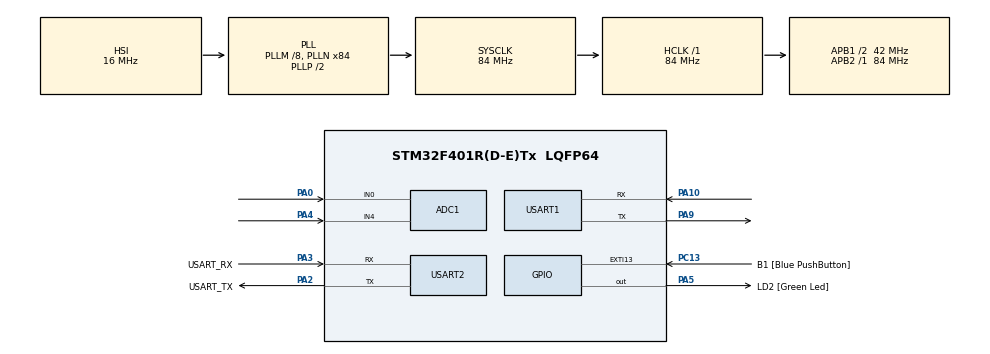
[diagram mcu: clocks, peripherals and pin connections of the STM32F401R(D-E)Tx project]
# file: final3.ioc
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ADC1.ContinuousConvMode=ENABLE
ADC1.NbrOfConversion=1
ADC1.NbrOfConversionFlag=1
ADC1.master=1
Mcu.Family=STM32F4
Mcu.Name=STM32F401R(D-E)Tx
Mcu.Package=LQFP64
NVIC.EXTI15_10_IRQn=true\:1\:0\:true\:false\:true\:true\:true
NVIC.PriorityGroup=NVIC_PRIORITYGROUP_1
PA0-WKUP.Signal=ADCx_IN0
PA10.Mode=Asynchronous
PA10.Signal=USART1_RX
PA13.GPIO_Label=TMS
PA13.Mode=Serial_Wire
PA13.Signal=SYS_JTMS-SWDIO
PA14.GPIO_Label=TCK
PA14.Mode=Serial_Wire
PA14.Signal=SYS_JTCK-SWCLK
PA2.GPIO_Label=USART_TX
PA2.GPIO_Mode=GPIO_MODE_AF_PP
PA2.GPIO_PuPd=GPIO_NOPULL
PA2.GPIO_Speed=GPIO_SPEED_FREQ_LOW
PA2.Mode=Asynchronous
PA2.Signal=USART2_TX
PA3.GPIO_Label=USART_RX
PA3.GPIO_Mode=GPIO_MODE_AF_PP
PA3.GPIO_PuPd=GPIO_NOPULL
PA3.GPIO_Speed=GPIO_SPEED_FREQ_LOW
PA3.Mode=Asynchronous
PA3.Signal=USART2_RX
PA4.Signal=ADCx_IN4
PA5.GPIO_Label=LD2 [Green Led]
PA5.GPIO_Mode=GPIO_MODE_OUTPUT_PP
PA5.GPIO_PuPd=GPIO_NOPULL
PA5.GPIO_Speed=GPIO_SPEED_FREQ_LOW
PA5.Signal=GPIO_Output
PA9.Mode=Asynchronous
PA9.Signal=USART1_TX
PB3.GPIO_Label=SWO
PB3.Signal=SYS_JTDO-SWO
PC13-ANTI_TAMP.GPIO_Label=B1 [Blue PushButton]
PC13-ANTI_TAMP.GPIO_ModeDefaultEXTI=GPIO_MODE_IT_FALLING
PC13-ANTI_TAMP.GPIO_PuPd=GPIO_NOPULL
PC13-ANTI_TAMP.Signal=GPXTI13
PC14-OSC32_IN.Mode=LSE-External-Oscillator
PC14-OSC32_IN.Signal=RCC_OSC32_IN
PC15-OSC32_OUT.Mode=LSE-External-Oscillator
PC15-OSC32_OUT.Signal=RCC_OSC32_OUT
PH0\ -\ OSC_IN.Mode=HSE-External-Clock-Source
PH0\ -\ OSC_IN.Signal=RCC_OSC_IN
PH1\ -\ OSC_OUT.Mode=HSE-External-Clock-Source
PH1\ -\ OSC_OUT.Signal=RCC_OSC_OUT
ProjectManager.HeapSize=0x200
ProjectManager.StackSize=0x400
ProjectManager.TargetToolchain=STM32CubeIDE
RCC.48MHZClocksFreq_Value=24000000
RCC.AHBFreq_Value=84000000
RCC.APB1CLKDivider=RCC_HCLK_DIV2
RCC.APB1Freq_Value=42000000
RCC.APB1TimFreq_Value=84000000
RCC.APB2Freq_Value=84000000
RCC.APB2TimFreq_Value=84000000
RCC.CortexFreq_Value=84000000
RCC.HCLKFreq_Value=84000000
RCC.HSE_VALUE=8000000
RCC.HSI_VALUE=16000000
RCC.PLLM=8
RCC.PLLN=84
RCC.PLLQ=7
RCC.SYSCLKFreq_VALUE=84000000
RCC.SYSCLKSource=RCC_SYSCLKSOURCE_PLLCLK
RCC.VCOOutputFreq_Value=168000000
SH.ADCx_IN0.0=ADC1_IN0,IN0
SH.ADCx_IN4.0=ADC1_IN4,IN4
USART1.VirtualMode=VM_ASYNC
USART2.VirtualMode=VM_ASYNC
board=NUCLEO-F401RE

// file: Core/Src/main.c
/* USER CODE BEGIN Header */
/**
  ******************************************************************************
  * @file           : main.c
  * @brief          : Main program body
  ******************************************************************************
  * @attention
  *
  * Copyright (c) 2022 STMicroelectronics.
  * All rights reserved.
  *
  * This software is licensed under terms that can be found in the LICENSE file
  * in the root directory of this software component.
  * If no LICENSE file comes with this software, it is provided AS-IS.
  *
  ******************************************************************************
  */
/* USER CODE END Header */
#include "main.h"

/* USER CODE BEGIN Includes */
#include "DHT.h"
/* USER CODE END Includes */

/* USER CODE BEGIN PD */
#define PM_Port GPIOA
#define PM_PIN GPIO_PIN_5

#define led_Port GPIOA
#define led_Pin GPIO_PIN_8
/* USER CODE END PD */

ADC_HandleTypeDef hadc1;

UART_HandleTypeDef huart1;
UART_HandleTypeDef huart2;

void SystemClock_Config(void);
static void MX_GPIO_Init(void);
static void MX_USART2_UART_Init(void);
static void MX_ADC1_Init(void);
static void MX_USART1_UART_Init(void);

/* USER CODE BEGIN 0 */
DHT_DataTypedef DHT22_Data;
float Temperature, Humidity, sigVolt;
float dustLevel=0.0;
int value[2];
int LedStatus = 0, prevStatus = 0;
int cnt=0;

void sendData(){
	char buffer[40] = {};
	char temp[7], humi[7];
	gcvt(Temperature, 5, temp);
	gcvt(Humidity, 5, humi);
	sprintf(buffer, "[%s,%s,%d,%d]",temp, humi,value[0],LedStatus);
	HAL_UART_Transmit(&huart1, buffer, sizeof(buffer), HAL_MAX_DELAY);
//	HAL_UART_Transmit(&huart2, buffer, sizeof(buffer), HAL_MAX_DELAY);
}

void HAL_GPIO_EXTI_Callback(uint16_t GPIO_Pin)
{
    if(GPIO_Pin == GPIO_PIN_13) // INT Source is pin A9
    {
    	LedStatus ^= 1;
    	HAL_GPIO_WritePin(GPIOA, GPIO_PIN_5, LedStatus); // Toggle LED
    	HAL_Delay(100);
    	sendData();
    	cnt=0;
    }
}

/* USER CODE END 0 */

int main(void)
{

  /* MCU Configuration--------------------------------------------------------*/

  /* Reset of all peripherals, Initializes the Flash interface and the Systick. */
  HAL_Init();

  /* Configure the system clock */
  SystemClock_Config();

  /* Initialize all configured peripherals */
  MX_GPIO_Init();
  MX_USART2_UART_Init();
  MX_ADC1_Init();
  MX_USART1_UART_Init();
  /* USER CODE BEGIN 2 */
  int max_eb=-1e9,min_eb=1e9;

  /* USER CODE END 2 */

  /* Infinite loop */
  while (1)
  {

    /* USER CODE BEGIN 3 */
	  // DHT22
	  DHT_GetData(&DHT22_Data);
	  Temperature = DHT22_Data.Temperature/10.0;
	  Humidity = DHT22_Data.Humidity/10.0;

	  // light sensor
	  ADC_Select_CH0();
	  HAL_ADC_Start(&hadc1);
	  HAL_ADC_PollForConversion(&hadc1, 1000);
	  value[0] = HAL_ADC_GetValue(&hadc1);
	  HAL_ADC_Stop(&hadc1);

	  // PM2.5
	  char rbuffer[2];
	  sendData();
	  if (HAL_UART_Receive(&huart1, rbuffer, sizeof(rbuffer), 100000) == HAL_OK){
		  char test[7];
		  sprintf(test, "%c,%c*\r\n",rbuffer[0],rbuffer[1]);
		  HAL_UART_Transmit(&huart2, test, sizeof(test), 100);
		  if(rbuffer[0] == '1' && cnt>=2){
			  HAL_GPIO_WritePin(GPIOA, GPIO_PIN_5, 1);
			  LedStatus = 1;
		  }
		  else if(rbuffer[0] == '0' && cnt>=2){
			  HAL_GPIO_WritePin(GPIOA, GPIO_PIN_5, 0);
			  LedStatus = 0;
		  }
		  cnt++;
	  }
	  if(LedStatus != prevStatus) {
		  prevStatus = LedStatus;
		  // update state led on nodemcu
		  char test[4];
		  sprintf(test, "in\r\n");
		  HAL_UART_Transmit(&huart2, test, sizeof(test), 100);
		  sendData();
		  cnt=0;
	  }
	  HAL_Delay(100);
//	  HAL_Delay(1000);
  }
  /* USER CODE END 3 */
}

void SystemClock_Config(void)
{
  RCC_OscInitTypeDef RCC_OscInitStruct = {0};
  RCC_ClkInitTypeDef RCC_ClkInitStruct = {0};

  /** Configure the main internal regulator output voltage
  */
  __HAL_RCC_PWR_CLK_ENABLE();
  __HAL_PWR_VOLTAGESCALING_CONFIG(PWR_REGULATOR_VOLTAGE_SCALE2);
  /** Initializes the RCC Oscillators according to the specified parameters
  * in the RCC_OscInitTypeDef structure.
  */
  RCC_OscInitStruct.OscillatorType = RCC_OSCILLATORTYPE_HSI;
  RCC_OscInitStruct.HSIState = RCC_HSI_ON;
  RCC_OscInitStruct.HSICalibrationValue = RCC_HSICALIBRATION_DEFAULT;
  RCC_OscInitStruct.PLL.PLLState = RCC_PLL_ON;
  RCC_OscInitStruct.PLL.PLLSource = RCC_PLLSOURCE_HSI;
  RCC_OscInitStruct.PLL.PLLM = 8;
  RCC_OscInitStruct.PLL.PLLN = 84;
  RCC_OscInitStruct.PLL.PLLP = RCC_PLLP_DIV2;
  RCC_OscInitStruct.PLL.PLLQ = 7;
  if (HAL_RCC_OscConfig(&RCC_OscInitStruct) != HAL_OK)
  {
    Error_Handler();
  }
  /** Initializes the CPU, AHB and APB buses clocks
  */
  RCC_ClkInitStruct.ClockType = RCC_CLOCKTYPE_HCLK|RCC_CLOCKTYPE_SYSCLK
                              |RCC_CLOCKTYPE_PCLK1|RCC_CLOCKTYPE_PCLK2;
  RCC_ClkInitStruct.SYSCLKSource = RCC_SYSCLKSOURCE_PLLCLK;
  RCC_ClkInitStruct.AHBCLKDivider = RCC_SYSCLK_DIV1;
  RCC_ClkInitStruct.APB1CLKDivider = RCC_HCLK_DIV2;
  RCC_ClkInitStruct.APB2CLKDivider = RCC_HCLK_DIV1;

  if (HAL_RCC_ClockConfig(&RCC_ClkInitStruct, FLASH_LATENCY_2) != HAL_OK)
  {
    Error_Handler();
  }
}

static void MX_ADC1_Init(void)
{

  /** Configure the global features of the ADC (Clock, Resolution, Data Alignment and number of conversion)
  */
  hadc1.Instance = ADC1;
  hadc1.Init.ClockPrescaler = ADC_CLOCK_SYNC_PCLK_DIV4;
  hadc1.Init.Resolution = ADC_RESOLUTION_12B;
  hadc1.Init.ScanConvMode = DISABLE;
  hadc1.Init.ContinuousConvMode = ENABLE;
  hadc1.Init.DiscontinuousConvMode = DISABLE;
  hadc1.Init.ExternalTrigConvEdge = ADC_EXTERNALTRIGCONVEDGE_NONE;
  hadc1.Init.ExternalTrigConv = ADC_SOFTWARE_START;
  hadc1.Init.DataAlign = ADC_DATAALIGN_RIGHT;
  hadc1.Init.NbrOfConversion = 1;
  hadc1.Init.DMAContinuousRequests = DISABLE;
  hadc1.Init.EOCSelection = ADC_EOC_SINGLE_CONV;
  if (HAL_ADC_Init(&hadc1) != HAL_OK)
  {
    Error_Handler();
  }

}

static void MX_USART1_UART_Init(void)
{

  huart1.Instance = USART1;
  huart1.Init.BaudRate = 115200;
  huart1.Init.WordLength = UART_WORDLENGTH_8B;
  huart1.Init.StopBits = UART_STOPBITS_1;
  huart1.Init.Parity = UART_PARITY_NONE;
  huart1.Init.Mode = UART_MODE_TX_RX;
  huart1.Init.HwFlowCtl = UART_HWCONTROL_NONE;
  huart1.Init.OverSampling = UART_OVERSAMPLING_16;
  if (HAL_UART_Init(&huart1) != HAL_OK)
  {
    Error_Handler();
  }

}

static void MX_USART2_UART_Init(void)
{

  huart2.Instance = USART2;
  huart2.Init.BaudRate = 115200;
  huart2.Init.WordLength = UART_WORDLENGTH_8B;
  huart2.Init.StopBits = UART_STOPBITS_1;
  huart2.Init.Parity = UART_PARITY_NONE;
  huart2.Init.Mode = UART_MODE_TX_RX;
  huart2.Init.HwFlowCtl = UART_HWCONTROL_NONE;
  huart2.Init.OverSampling = UART_OVERSAMPLING_16;
  if (HAL_UART_Init(&huart2) != HAL_OK)
  {
    Error_Handler();
  }

}

static void MX_GPIO_Init(void)
{
  GPIO_InitTypeDef GPIO_InitStruct = {0};

  /* GPIO Ports Clock Enable */
  __HAL_RCC_GPIOC_CLK_ENABLE();
  __HAL_RCC_GPIOH_CLK_ENABLE();
  __HAL_RCC_GPIOA_CLK_ENABLE();
  __HAL_RCC_GPIOB_CLK_ENABLE();

  /*Configure GPIO pin Output Level */
  HAL_GPIO_WritePin(LD2_GPIO_Port, LD2_Pin, GPIO_PIN_RESET);

  /*Configure GPIO pin : B1_Pin */
  GPIO_InitStruct.Pin = B1_Pin;
  GPIO_InitStruct.Mode = GPIO_MODE_IT_FALLING;
  GPIO_InitStruct.Pull = GPIO_NOPULL;
  HAL_GPIO_Init(B1_GPIO_Port, &GPIO_InitStruct);

  /*Configure GPIO pin : LD2_Pin */
  GPIO_InitStruct.Pin = LD2_Pin;
  GPIO_InitStruct.Mode = GPIO_MODE_OUTPUT_PP;
  GPIO_InitStruct.Pull = GPIO_NOPULL;
  GPIO_InitStruct.Speed = GPIO_SPEED_FREQ_LOW;
  HAL_GPIO_Init(LD2_GPIO_Port, &GPIO_InitStruct);

  /* EXTI interrupt init*/
  HAL_NVIC_SetPriority(EXTI15_10_IRQn, 1, 0);
  HAL_NVIC_EnableIRQ(EXTI15_10_IRQn);

}

/* USER CODE BEGIN 4 */
void ADC_Select_CH0 (void)
{
	ADC_ChannelConfTypeDef sConfig = {0};
	  /** Configure for the selected ADC regular channel its corresponding rank in the sequencer and its sample time.
	  */
	  sConfig.Channel = ADC_CHANNEL_0;
	  sConfig.Rank = 1;
	  sConfig.SamplingTime = ADC_SAMPLETIME_28CYCLES;
	  if (HAL_ADC_ConfigChannel(&hadc1, &sConfig) != HAL_OK)
	  {
	    Error_Handler();
	  }
}

void ADC_Select_CH4 (void)
{
	ADC_ChannelConfTypeDef sConfig = {0};
	  /** Configure for the selected ADC regular channel its corresponding rank in the sequencer and its sample time.
	  */
	  sConfig.Channel = ADC_CHANNEL_4;
	  sConfig.Rank = 1;
	  sConfig.SamplingTime = ADC_SAMPLETIME_28CYCLES;
	  if (HAL_ADC_ConfigChannel(&hadc1, &sConfig) != HAL_OK)
	  {
	    Error_Handler();
	  }
}
/* USER CODE END 4 */

void Error_Handler(void)
{
  __disable_irq();
  while (1)
  {
  }
}
